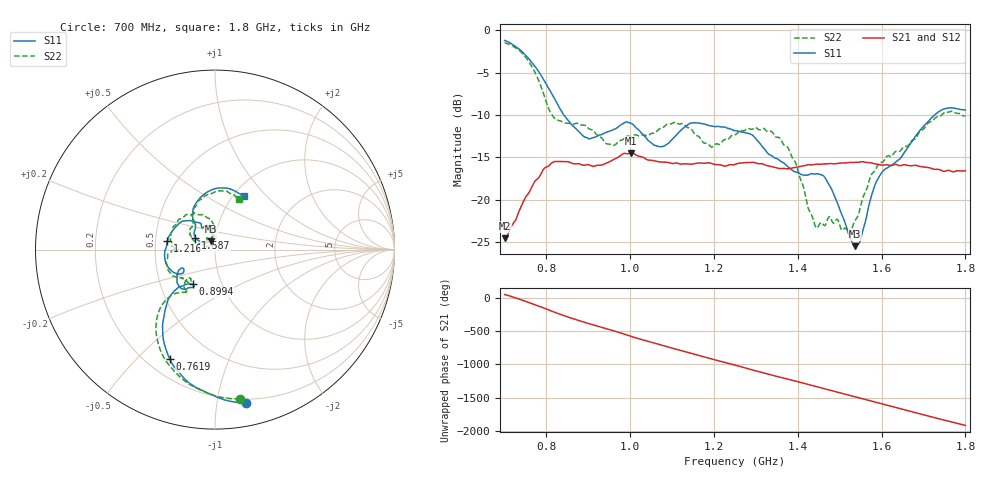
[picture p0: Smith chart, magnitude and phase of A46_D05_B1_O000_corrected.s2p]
! Created with skrf 1.9.0 (http://scikit-rf.org).
# Hz S RI R 50.0
!freq ReS11 ImS11 ReS21 ImS21 ReS12 ImS12 ReS22 ImS22
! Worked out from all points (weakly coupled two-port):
!   1601 points, 700 MHz to 1.8 GHz, reference 50 ohm
!   highest |S21| = -14.47 dB at 1.002 GHz (marker M1); lowest = -24.6 dB at 700.7 MHz (marker M2)
!   lowest |S11| = -25.5 dB at 1.537 GHz (marker M3), VSWR 1.11, Z = 47.4 + j4.47 ohm
!   |S11| at or under -10 dB: 841.3 MHz to 1.727 GHz (885.2 MHz wide, 68.9 % of centre)
!   |S22| runs from -24.0 to -1.5 dB; largest |S21 - S12| = 0.0034
!   S11 on the Smith chart (normalised r, x): 700 MHz: 0.17, -1.21; 761.9 MHz: 0.29, -0.63; 899.4 MHz: 0.73, -0.30; 1.216 GHz: 0.58, +0.06; 1.587 GHz: 0.80, +0.10; 1.8 GHz: 1.12, +0.75
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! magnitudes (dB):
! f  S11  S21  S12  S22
! 700 MHz  -1.2  -24.6  -24.3  -1.5
! 700.7 MHz  -1.2  -24.6  -24.3  -1.5
! 761.9 MHz  -3.6  -18.8  -18.7  -4.0
! 817.6 MHz  -7.9  -15.5  -15.6  -10.3
! 883.6 MHz  -12.3  -15.9  -15.8  -11.2
! 899.4 MHz  -12.8  -15.9  -15.9  -11.5
! 957.1 MHz  -11.8  -15.4  -15.3  -13.5
! 1.002 GHz  -11.0  -14.5  -14.6  -12.6
! 1.067 GHz  -13.7  -15.5  -15.5  -11.7
! 1.145 GHz  -11.0  -15.8  -15.8  -11.6
! 1.216 GHz  -11.4  -15.9  -15.9  -13.4
! 1.25 GHz  -11.9  -15.8  -15.8  -12.3
! 1.357 GHz  -15.4  -16.3  -16.3  -12.7
! 1.394 GHz  -16.7  -16.2  -16.2  -15.6
! 1.434 GHz  -16.9  -15.9  -15.8  -21.9
! 1.47 GHz  -17.8  -15.8  -15.7  -22.5
! 1.523 GHz  -24.3  -15.6  -15.6  -24.0
! 1.537 GHz  -25.5  -15.6  -15.6  -22.5
! 1.587 GHz  -17.9  -15.8  -15.8  -16.3
! 1.617 GHz  -16.1  -15.9  -15.9  -14.8
! 1.733 GHz  -9.7  -16.4  -16.4  -10.2
! 1.8 GHz  -9.4  -16.6  -16.6  -10.1
